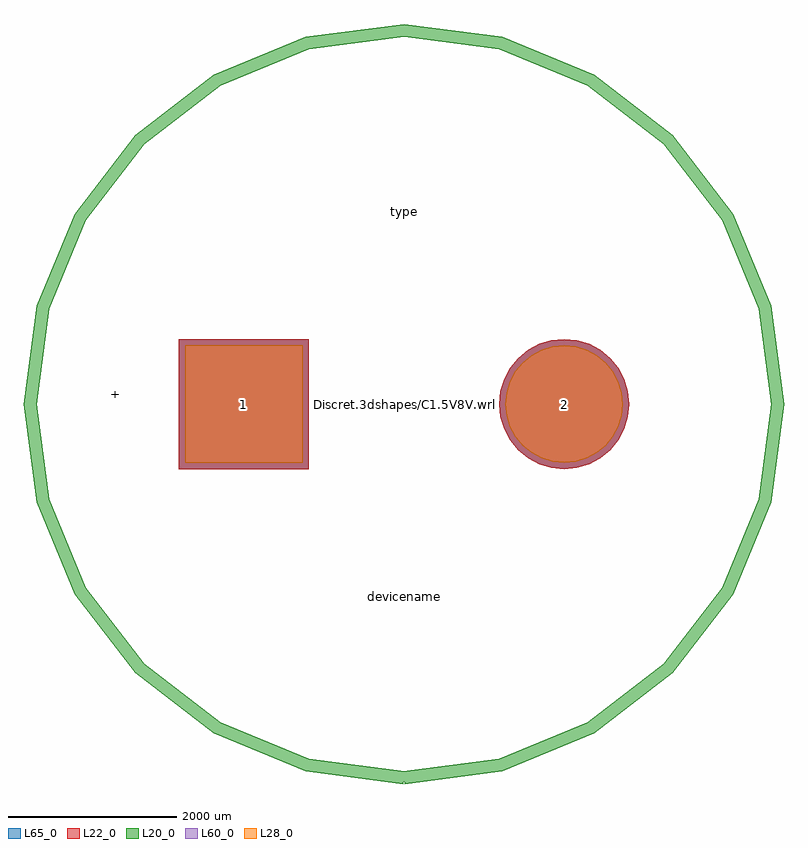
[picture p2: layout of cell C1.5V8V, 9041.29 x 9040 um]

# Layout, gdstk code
import gdstk
lib = gdstk.Library(unit=1e-6, precision=1e-09)
def R(c, l, rs):  # rectangles x0, y0, x1, y1
    for r in rs: c.add(gdstk.rectangle(r[:2], r[2:], *l))
def P(c, l, *ps):  # polygons
    for p in ps: c.add(gdstk.Polygon(p, *l))
L20_0 = (20, 0)
L22_0 = (22, 0)
L28_0 = (28, 0)
L60_0 = (60, 0)
L65_0 = (65, 0)

c1_5v8v = lib.new_cell('C1.5V8V')
R(c1_5v8v, L22_0, [(-2678.5,-773.5,-1131.5,773.5)])
P(c1_5v8v, L22_0, [(2678.5,0),(2663.637,150.902),(2619.621,296.006),(2548.142,429.734),(2451.947,546.947),(2334.734,643.142),(2201.006,714.621),(2055.902,758.637),(1905,773.5),(1754.098,758.637),(1608.994,714.621),(1475.266,643.142),(1358.053,546.947),(1261.858,429.734),(1190.379,296.006),(1146.363,150.902),(1131.5,0),(1146.363,-150.902),(1190.379,-296.006),(1261.858,-429.734),(1358.053,-546.947),(1475.266,-643.142),(1608.994,-714.621),(1754.098,-758.637),(1905,-773.5),(2055.902,-758.637),(2201.006,-714.621),(2334.734,-643.142),(2451.947,-546.947),(2548.142,-429.734),(2619.621,-296.006),(2663.637,-150.902)])
R(c1_5v8v, L28_0, [(-2603.5,-698.5,-1206.5,698.5)])
P(c1_5v8v, L28_0, [(2603.5,0),(2590.079,136.271),(2550.33,267.304),(2485.782,388.066),(2398.914,493.914),(2293.066,580.782),(2172.304,645.33),(2041.271,685.079),(1905,698.5),(1768.729,685.079),(1637.696,645.33),(1516.934,580.782),(1411.086,493.914),(1324.218,388.066),(1259.67,267.304),(1219.921,136.271),(1206.5,0),(1219.921,-136.271),(1259.67,-267.304),(1324.218,-388.066),(1411.086,-493.914),(1516.934,-580.782),(1637.696,-645.33),(1768.729,-685.079),(1905,-698.5),(2041.271,-685.079),(2172.304,-645.33),(2293.066,-580.782),(2398.914,-493.914),(2485.782,-388.066),(2550.33,-267.304),(2590.079,-136.271)])
R(c1_5v8v, L60_0, [(-2603.5,-698.5,-1206.5,698.5)])
P(c1_5v8v, L60_0, [(2603.5,0),(2590.079,136.271),(2550.33,267.304),(2485.782,388.066),(2398.914,493.914),(2293.066,580.782),(2172.304,645.33),(2041.271,685.079),(1905,698.5),(1768.729,685.079),(1637.696,645.33),(1516.934,580.782),(1411.086,493.914),(1324.218,388.066),(1259.67,267.304),(1219.921,136.271),(1206.5,0),(1219.921,-136.271),(1259.67,-267.304),(1324.218,-388.066),(1411.086,-493.914),(1516.934,-580.782),(1637.696,-645.33),(1768.729,-685.079),(1905,-698.5),(2041.271,-685.079),(2172.304,-645.33),(2293.066,-580.782),(2398.914,-493.914),(2485.782,-388.066),(2550.33,-267.304),(2590.079,-136.271)])
R(c1_5v8v, L65_0, [(-2678.5,-773.5,-1131.5,773.5)])
P(c1_5v8v, L65_0, [(2678.5,0),(2663.637,150.902),(2619.621,296.006),(2548.142,429.734),(2451.947,546.947),(2334.734,643.142),(2201.006,714.621),(2055.902,758.637),(1905,773.5),(1754.098,758.637),(1608.994,714.621),(1475.266,643.142),(1358.053,546.947),(1261.858,429.734),(1190.379,296.006),(1146.363,150.902),(1131.5,0),(1146.363,-150.902),(1190.379,-296.006),(1261.858,-429.734),(1358.053,-546.947),(1475.266,-643.142),(1608.994,-714.621),(1754.098,-758.637),(1905,-773.5),(2055.902,-758.637),(2201.006,-714.621),(2334.734,-643.142),(2451.947,-546.947),(2548.142,-429.734),(2619.621,-296.006),(2663.637,-150.902)])
c1_5v8v.add(gdstk.FlexPath([(0,-4445),(1150.451,-4293.54),(2222.5,-3849.483),(3143.09,-3143.09),(3849.483,-2222.5),(4293.54,-1150.451),(4445,0),(4293.54,1150.451),(3849.483,2222.5),(3143.09,3143.09),(2222.5,3849.483),(1150.451,4293.54),(0,4445),(-1150.451,4293.54),(-2222.5,3849.483),(-3143.09,3143.09),(-3849.483,2222.5),(-4293.54,1150.451),(-4445,0),(-4293.54,-1150.451),(-3849.483,-2222.5),(-3143.09,-3143.09),(-2222.5,-3849.483),(-1150.451,-4293.54),(0,-4445)], 149.998, ends="flush", simple_path=True, layer=20, datatype=0))  # L20_0
c1_5v8v.add(gdstk.Label('Discret.3dshapes/C1.5V8V.wrl', (0,0), layer=12, texttype=0))
c1_5v8v.add(gdstk.Label('2', (1905,0), layer=28, texttype=0))
c1_5v8v.add(gdstk.Label('1', (-1905,0), layer=28, texttype=0))
c1_5v8v.add(gdstk.Label('+', (-3429,127), layer=9, texttype=0))
c1_5v8v.add(gdstk.Label('type', (0,2286), layer=9, texttype=0))
c1_5v8v.add(gdstk.Label('devicename', (0,-2286), layer=9, texttype=0))

lib.write_gds('C1.5V8V.gds')
